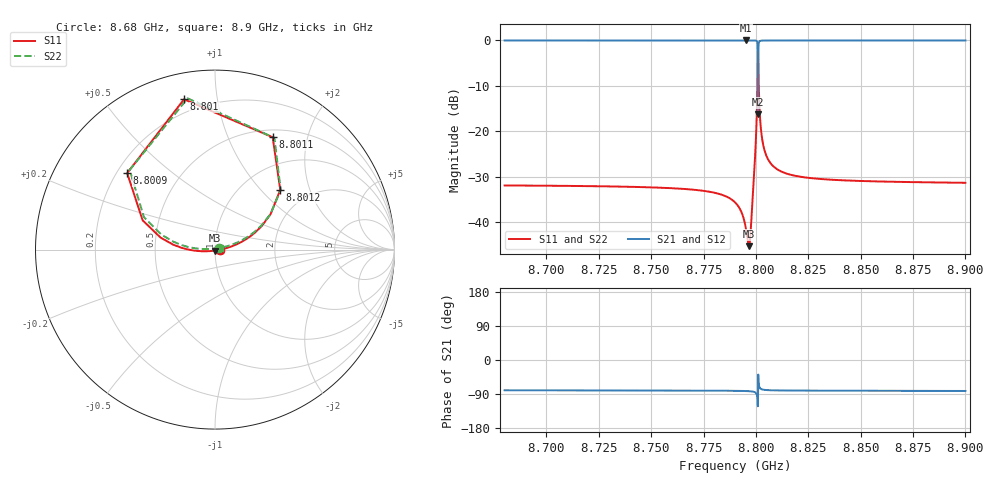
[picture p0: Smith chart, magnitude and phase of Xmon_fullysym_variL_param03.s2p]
! Sonnet Data File
! From: emgraph Version : 16.52
! From Project: 171117_Xmon_fullysym
! Data is De-embedded
! Data File Written: 11/26/2017 17:14:22
!< HDATE 11/22/2017 16:48:52
!< MDATE 11/23/2017 10:16:42
!< PARAMS
!< Lj = 11.0
!< Gap = 1.0
!< Pwid = 2000.0
!< Airgap = 6.0
!< Width = 10.0
!< Lj1 = 10.1
!< END PARAMS
# GHZ S MA R 50.90000
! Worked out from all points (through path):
!   2201 points, 8.68 GHz to 8.9 GHz, reference 50.9 ohm
!   highest |S21| = 0.00 dB at 8.7952 GHz (marker M1); lowest = -16.3 dB at 8.801 GHz (marker M2)
!   lowest |S11| = -45.4 dB at 8.7967 GHz (marker M3), VSWR 1.01, Z = 51 - j0.546 ohm
!   |S11| at or under -10 dB: start of sweep to 8.8007 GHz; 8.8014 GHz to end of sweep
!   |S22| runs from -45.0 to -1.3 dB; largest |S21 - S12| = 1.4e-10
!   S11 on the Smith chart (normalised r, x): 8.68 GHz: 1.05, -0.00; 8.8009 GHz: 0.24, +0.36; 8.801 GHz: 0.13, +0.81; 8.8011 GHz: 0.59, +1.47; 8.8012 GHz: 1.47, +1.29; 8.9 GHz: 1.06, -0.00
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8.68  0.02521 -1.4  0.9997 -79.8  0.9997 -79.8  0.02521 21.9
!< P1 F=8.68 Eeff=(6.44843488 -2.9797e-5) Z0=(50.9086135 1.17022e-4) R=0.0 C=0.0
!< P2 F=8.68 Eeff=(6.44843488 -2.9797e-5) Z0=(50.9086135 1.17022e-4) R=0.0 C=0.0
8.7167  0.02484 -2.1  0.9997 -80.1  0.9997 -80.1  0.02484 21.8
8.7534  0.02386 -3.1  0.9997 -80.5  0.9997 -80.5  0.02386 22.0
8.7788  0.02127 -5.2  0.9998 -80.9  0.9998 -80.9  0.02128 23.4
8.79  0.01642 -10.1  0.9998 -81.3  0.9998 -81.3  0.01643 27.6
8.7931  0.01277 -16.3  0.9999 -81.6  0.9999 -81.6  0.0128 33.4
8.7952  0.008461 -31.2  0.9999 -81.9  0.9999 -81.9  0.008542 48.1
8.7967  0.005396 -83.3  0.9999 -82.3  0.9999 -82.3  0.005621 98.6
8.7981  0.01358 -149.5  0.9997 -83.0  0.9997 -83.0  0.01378 161.7
8.7993  0.0395 -166.9  0.9985 -84.5  0.9985 -84.5  0.03969 175.8
8.7999  0.07412 -172.9  0.9956 -86.5  0.9956 -86.5  0.07436 177.3
8.8009  0.649 138.9  0.6562 -122.1  0.6562 -122.1  0.6503 137.0
8.801  0.855 101.6  0.1535 -100.8  0.1535 -100.8  0.8565 100.3
8.8011  0.7036 62.8  0.5883 -38.6  0.5883 -38.6  0.7049 62.0
8.8012  0.493 42.5  0.8261 -52.9  0.8261 -52.9  0.4938 42.2
8.8017  0.1813 18.4  0.9793 -71.9  0.9793 -71.9  0.1816 20.5
8.8022  0.1173 13.1  0.9917 -75.6  0.9917 -75.6  0.1175 17.1
8.8034  0.07173 8.3  0.9971 -78.2  0.9971 -78.2  0.07178 15.8
8.8066  0.04557 4.0  0.9989 -79.8  0.9989 -79.8  0.04559 16.6
8.8267  0.03029 -0.7  0.9995 -80.8  0.9995 -80.8  0.03029 19.0
8.8634  0.02773 -2.2  0.9996 -81.3  0.9996 -81.3  0.02773 19.6
8.9  0.02696 -3.0  0.9996 -81.7  0.9996 -81.7  0.02696 19.6
